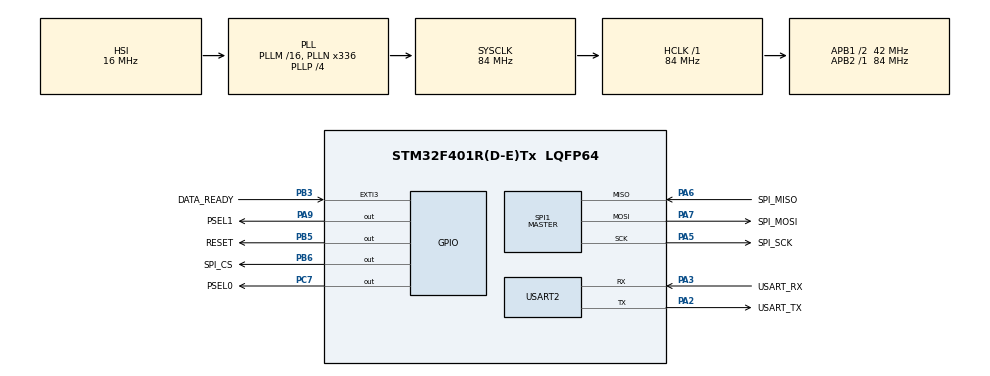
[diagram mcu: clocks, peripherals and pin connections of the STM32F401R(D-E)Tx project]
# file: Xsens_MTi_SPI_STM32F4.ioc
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Mcu.Family=STM32F4
Mcu.Name=STM32F401R(D-E)Tx
Mcu.Package=LQFP64
NVIC.EXTI3_IRQn=true\:0\:0\:false\:false\:true\:true\:true\:true
NVIC.PriorityGroup=NVIC_PRIORITYGROUP_0
PA2.GPIO_Label=USART_TX
PA2.GPIO_Speed=GPIO_SPEED_FREQ_LOW
PA2.Mode=Asynchronous
PA2.Signal=USART2_TX
PA3.GPIO_Label=USART_RX
PA3.GPIO_Speed=GPIO_SPEED_FREQ_LOW
PA3.Mode=Asynchronous
PA3.Signal=USART2_RX
PA5.GPIO_Label=SPI_SCK
PA5.Mode=Full_Duplex_Master
PA5.Signal=SPI1_SCK
PA6.GPIO_Label=SPI_MISO
PA6.Mode=Full_Duplex_Master
PA6.Signal=SPI1_MISO
PA7.GPIO_Label=SPI_MOSI
PA7.Mode=Full_Duplex_Master
PA7.Signal=SPI1_MOSI
PA9.GPIO_Label=PSEL1
PA9.PinState=GPIO_PIN_SET
PA9.Signal=GPIO_Output
PB3.GPIO_Label=DATA_READY
PB3.GPIO_PuPd=GPIO_PULLDOWN
PB3.Signal=GPXTI3
PB5.GPIO_Label=RESET
PB5.GPIO_Speed=GPIO_SPEED_FREQ_HIGH
PB5.Signal=GPIO_Output
PB6.GPIO_Label=SPI_CS
PB6.Signal=GPIO_Output
PC7.GPIO_Label=PSEL0
PC7.Signal=GPIO_Output
ProjectManager.HeapSize=0x200
ProjectManager.StackSize=0x400
ProjectManager.TargetToolchain=STM32CubeIDE
RCC.AHBFreq_Value=84000000
RCC.APB1CLKDivider=RCC_HCLK_DIV2
RCC.APB1Freq_Value=42000000
RCC.APB1TimFreq_Value=84000000
RCC.APB2Freq_Value=84000000
RCC.APB2TimFreq_Value=84000000
RCC.CortexFreq_Value=84000000
RCC.HCLKFreq_Value=84000000
RCC.HSE_VALUE=8000000
RCC.HSI_VALUE=16000000
RCC.LSE_VALUE=32768
RCC.PLLN=336
RCC.PLLP=RCC_PLLP_DIV4
RCC.PLLQ=7
RCC.SYSCLKFreq_VALUE=84000000
RCC.SYSCLKSource=RCC_SYSCLKSOURCE_PLLCLK
RCC.VCOOutputFreq_Value=336000000
SPI1.BaudRatePrescaler=SPI_BAUDRATEPRESCALER_128
SPI1.CLKPhase=SPI_PHASE_2EDGE
SPI1.CLKPolarity=SPI_POLARITY_HIGH
SPI1.Direction=SPI_DIRECTION_2LINES
SPI1.Mode=SPI_MODE_MASTER
SPI1.VirtualType=VM_MASTER
USART2.VirtualMode=VM_ASYNC
board=NUCLEO-F401RE

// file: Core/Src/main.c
/* USER CODE BEGIN Header */
/**
  ******************************************************************************
  * @file           : main.c
  * @brief          : Main program body
  ******************************************************************************
  * @attention
  *
  * Copyright (c) 2024 STMicroelectronics.
  * All rights reserved.
  *
  * This software is licensed under terms that can be found in the LICENSE file
  * in the root directory of this software component.
  * If no LICENSE file comes with this software, it is provided AS-IS.
  *
  ******************************************************************************
  */
/* USER CODE END Header */
#include "main.h"

/* USER CODE BEGIN Includes */
#include "MTi.h"
#include "myDebug.h"
/* USER CODE END Includes */

SPI_HandleTypeDef hspi1;

UART_HandleTypeDef huart2;

/* USER CODE BEGIN PV */
MTi MyMTi;

void setup();
void loop();
/* USER CODE END PV */

void SystemClock_Config(void);
static void MX_GPIO_Init(void);
static void MX_SPI1_Init(void);
static void MX_USART2_UART_Init(void);

int main(void)
{

  /* MCU Configuration--------------------------------------------------------*/

  /* Reset of all peripherals, Initializes the Flash interface and the Systick. */
  HAL_Init();

  /* Configure the system clock */
  SystemClock_Config();

  /* Initialize all configured peripherals */
  MX_GPIO_Init();
  MX_SPI1_Init();
  MX_USART2_UART_Init();

  /* USER CODE BEGIN 2 */
  setup();
  /* USER CODE END 2 */

  /* Infinite loop */
  while (1)
  {
	  loop();
	  //HAL_Delay(500);
  }
}

void SystemClock_Config(void)
{
  RCC_OscInitTypeDef RCC_OscInitStruct = {0};
  RCC_ClkInitTypeDef RCC_ClkInitStruct = {0};

  /** Configure the main internal regulator output voltage
  */
  __HAL_RCC_PWR_CLK_ENABLE();
  __HAL_PWR_VOLTAGESCALING_CONFIG(PWR_REGULATOR_VOLTAGE_SCALE2);

  /** Initializes the RCC Oscillators according to the specified parameters
  * in the RCC_OscInitTypeDef structure.
  */
  RCC_OscInitStruct.OscillatorType = RCC_OSCILLATORTYPE_HSI;
  RCC_OscInitStruct.HSIState = RCC_HSI_ON;
  RCC_OscInitStruct.HSICalibrationValue = RCC_HSICALIBRATION_DEFAULT;
  RCC_OscInitStruct.PLL.PLLState = RCC_PLL_ON;
  RCC_OscInitStruct.PLL.PLLSource = RCC_PLLSOURCE_HSI;
  RCC_OscInitStruct.PLL.PLLM = 16;
  RCC_OscInitStruct.PLL.PLLN = 336;
  RCC_OscInitStruct.PLL.PLLP = RCC_PLLP_DIV4;
  RCC_OscInitStruct.PLL.PLLQ = 7;
  if (HAL_RCC_OscConfig(&RCC_OscInitStruct) != HAL_OK)
  {
    Error_Handler();
  }

  /** Initializes the CPU, AHB and APB buses clocks
  */
  RCC_ClkInitStruct.ClockType = RCC_CLOCKTYPE_HCLK|RCC_CLOCKTYPE_SYSCLK
                              |RCC_CLOCKTYPE_PCLK1|RCC_CLOCKTYPE_PCLK2;
  RCC_ClkInitStruct.SYSCLKSource = RCC_SYSCLKSOURCE_PLLCLK;
  RCC_ClkInitStruct.AHBCLKDivider = RCC_SYSCLK_DIV1;
  RCC_ClkInitStruct.APB1CLKDivider = RCC_HCLK_DIV2;
  RCC_ClkInitStruct.APB2CLKDivider = RCC_HCLK_DIV1;

  if (HAL_RCC_ClockConfig(&RCC_ClkInitStruct, FLASH_LATENCY_2) != HAL_OK)
  {
    Error_Handler();
  }
}

static void MX_SPI1_Init(void)
{

  /* SPI1 parameter configuration*/
  hspi1.Instance = SPI1;
  hspi1.Init.Mode = SPI_MODE_MASTER;
  hspi1.Init.Direction = SPI_DIRECTION_2LINES;
  hspi1.Init.DataSize = SPI_DATASIZE_8BIT;
  hspi1.Init.CLKPolarity = SPI_POLARITY_HIGH;
  hspi1.Init.CLKPhase = SPI_PHASE_2EDGE;
  hspi1.Init.NSS = SPI_NSS_SOFT;
  hspi1.Init.BaudRatePrescaler = SPI_BAUDRATEPRESCALER_128;
  hspi1.Init.FirstBit = SPI_FIRSTBIT_MSB;
  hspi1.Init.TIMode = SPI_TIMODE_DISABLE;
  hspi1.Init.CRCCalculation = SPI_CRCCALCULATION_DISABLE;
  hspi1.Init.CRCPolynomial = 10;
  if (HAL_SPI_Init(&hspi1) != HAL_OK)
  {
    Error_Handler();
  }

}

static void MX_USART2_UART_Init(void)
{

  huart2.Instance = USART2;
  huart2.Init.BaudRate = 921600;
  huart2.Init.WordLength = UART_WORDLENGTH_8B;
  huart2.Init.StopBits = UART_STOPBITS_1;
  huart2.Init.Parity = UART_PARITY_NONE;
  huart2.Init.Mode = UART_MODE_TX_RX;
  huart2.Init.HwFlowCtl = UART_HWCONTROL_NONE;
  huart2.Init.OverSampling = UART_OVERSAMPLING_16;
  if (HAL_UART_Init(&huart2) != HAL_OK)
  {
    Error_Handler();
  }

}

static void MX_GPIO_Init(void)
{
  GPIO_InitTypeDef GPIO_InitStruct = {0};

  /* GPIO Ports Clock Enable */
  __HAL_RCC_GPIOA_CLK_ENABLE();
  __HAL_RCC_GPIOC_CLK_ENABLE();
  __HAL_RCC_GPIOB_CLK_ENABLE();

  /*Configure GPIO pin Output Level */
  HAL_GPIO_WritePin(PSEL0_GPIO_Port, PSEL0_Pin, GPIO_PIN_RESET);

  /*Configure GPIO pin Output Level */
  HAL_GPIO_WritePin(PSEL1_GPIO_Port, PSEL1_Pin, GPIO_PIN_SET);

  /*Configure GPIO pin Output Level */
  HAL_GPIO_WritePin(GPIOB, RESET_Pin|SPI_CS_Pin, GPIO_PIN_RESET);

  /*Configure GPIO pin : PSEL0_Pin */
  GPIO_InitStruct.Pin = PSEL0_Pin;
  GPIO_InitStruct.Mode = GPIO_MODE_OUTPUT_PP;
  GPIO_InitStruct.Pull = GPIO_NOPULL;
  GPIO_InitStruct.Speed = GPIO_SPEED_FREQ_LOW;
  HAL_GPIO_Init(PSEL0_GPIO_Port, &GPIO_InitStruct);

  /*Configure GPIO pin : PSEL1_Pin */
  GPIO_InitStruct.Pin = PSEL1_Pin;
  GPIO_InitStruct.Mode = GPIO_MODE_OUTPUT_PP;
  GPIO_InitStruct.Pull = GPIO_NOPULL;
  GPIO_InitStruct.Speed = GPIO_SPEED_FREQ_LOW;
  HAL_GPIO_Init(PSEL1_GPIO_Port, &GPIO_InitStruct);

  /*Configure GPIO pin : DATA_READY_Pin */
  GPIO_InitStruct.Pin = DATA_READY_Pin;
  GPIO_InitStruct.Mode = GPIO_MODE_IT_RISING;
  GPIO_InitStruct.Pull = GPIO_PULLDOWN;
  HAL_GPIO_Init(DATA_READY_GPIO_Port, &GPIO_InitStruct);

  /*Configure GPIO pin : RESET_Pin */
  GPIO_InitStruct.Pin = RESET_Pin;
  GPIO_InitStruct.Mode = GPIO_MODE_OUTPUT_PP;
  GPIO_InitStruct.Pull = GPIO_NOPULL;
  GPIO_InitStruct.Speed = GPIO_SPEED_FREQ_HIGH;
  HAL_GPIO_Init(RESET_GPIO_Port, &GPIO_InitStruct);

  /*Configure GPIO pin : SPI_CS_Pin */
  GPIO_InitStruct.Pin = SPI_CS_Pin;
  GPIO_InitStruct.Mode = GPIO_MODE_OUTPUT_PP;
  GPIO_InitStruct.Pull = GPIO_NOPULL;
  GPIO_InitStruct.Speed = GPIO_SPEED_FREQ_LOW;
  HAL_GPIO_Init(SPI_CS_GPIO_Port, &GPIO_InitStruct);

  /* EXTI interrupt init*/
  HAL_NVIC_SetPriority(EXTI3_IRQn, 0, 0);
  HAL_NVIC_EnableIRQ(EXTI3_IRQn);

}

/* USER CODE BEGIN 4 */
void setup() {
	MTi_init(&MyMTi, DATA_READY_GPIO_Port, DATA_READY_Pin);
//	printDebug("MTi Init Okay.");
//

	if (!MTi_detect(&MyMTi, 1000)) {
		printDebug("Please check your hardware connections.\n");
		while (1) {
			//Cannot continue because no MTi was detected.
		}
	} else {
		MTi_goToConfig(&MyMTi);
		MTi_requestDeviceInfo(&MyMTi);
		MTi_configureOutputs(&MyMTi);
		MTi_goToMeasurement(&MyMTi);

	}

}

void loop() {
	if (HAL_GPIO_ReadPin(MyMTi.drdy_port, MyMTi.drdy_pin)) {
		MTi_readMessages(&MyMTi);
	}
	HAL_Delay(10);
}
/* USER CODE END 4 */

void Error_Handler(void)
{
  __disable_irq();
  while (1)
  {
  }
}
